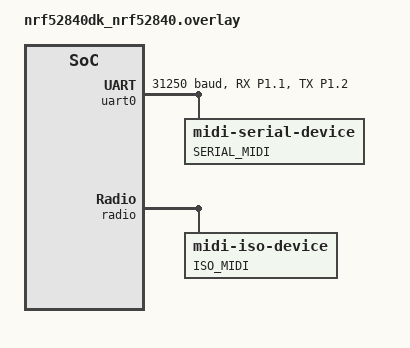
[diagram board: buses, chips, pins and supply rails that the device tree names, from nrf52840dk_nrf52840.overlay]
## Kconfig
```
source "Kconfig.zephyr"

config PRODUCT_ID
    string "Product ID"
    default "0x0001"
    help
      Product ID

config MIDI_TEST_MODE
    bool "MIDI Test Mode"
    default n
    help
      MIDI Test Mode

if MIDI_TEST_MODE

config MIDI_TEST_DROP_FIRST_IRC
    bool "Drop first irc"
    default n

config MIDI_TEST_DROP_FIRST_IRC_RATE
    int "Drop first IRC rate"
    depends on MIDI_TEST_DROP_FIRST_IRC
    default 2 if MIDI_TEST_DROP_FIRST_2ND
    default 16 if MIDI_TEST_DROP_FIRST_16TH
    help
      Drop first IRC rate

config MIDI_TEST_DROP_SECOND_IRC
    bool "Drop second irc"
    default n

config MIDI_TEST_DROP_SECOND_IRC_RATE
    int "Drop second IRC rate"
    depends on MIDI_TEST_DROP_SECOND_IRC
    default 2 if MIDI_TEST_DROP_SECOND_2ND
    default 16 if MIDI_TEST_DROP_SECOND_16TH
    help
      Drop second IRC rate

config MIDI_TEST_DROP_THIRD_IRC
    bool "Drop third irc"
    default n

config MIDI_TEST_DROP_THIRD_IRC_RATE
    int "Drop third IRC rate"
    depends on MIDI_TEST_DROP_THIRD_IRC
    help
      Drop third IRC rate


config MIDI_TEST_DROP_FOURTH_IRC
    bool "Drop third irc"
    default n

config MIDI_TEST_DROP_FOURTH_IRC_RATE
    int "Drop third IRC rate"
    depends on MIDI_TEST_DROP_FOURTH_IRC
    help
      Drop fourth IRC rate

endif # MIDI_TEST_MODE
```

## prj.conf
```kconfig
CONFIG_PRODUCT_ID="1050386693"

# Enable the UART driver
CONFIG_UART_ASYNC_API=y
CONFIG_NRFX_UARTE0=y
CONFIG_SERIAL=y

CONFIG_SPI=y

CONFIG_GPIO=y

# Make sure printk is not printing to the UART console
CONFIG_CONSOLE=n
CONFIG_UART_CONSOLE=n


CONFIG_HEAP_MEM_POOL_SIZE=2048


CONFIG_BT=y
CONFIG_BT_ISO_SYNC_RECEIVER=y
CONFIG_LOG=y
CONFIG_BT_DEVICE_NAME="Test ISO Receive"

CONFIG_BT_ISO_MAX_CHAN=2


CONFIG_BT_CTLR_SYNC_ISO=y
CONFIG_BT_CTLR_SYNC_ISO_PDU_LEN_MAX=251
CONFIG_BT_CTLR_SYNC_ISO_STREAM_MAX=2
CONFIG_BT_CTLR_ISOAL_SINKS=2
CONFIG_BT_LL_SW_SPLIT=y

# This example requires more workqueue stack
CONFIG_SYSTEM_WORKQUEUE_STACK_SIZE=4096

# Config logger
CONFIG_LOG=y
CONFIG_USE_SEGGER_RTT=y
CONFIG_LOG_BACKEND_RTT=y
CONFIG_LOG_BACKEND_UART=n

# Enable DK LED and Buttons library
CONFIG_DK_LIBRARY=y


CONFIG_GPIO=y
CONFIG_GPIO_NRFX=y

CONFIG_MIDI=y
CONFIG_MIDI_SERIAL=y
CONFIG_MIDI_ISO_RECEIVER=y
CONFIG_MIDI_PARSER=y
CONFIG_MIDI_UMP=y
CONFIG_MIDI_CI=y

# CONFIG_SPI_LOG_LEVEL_DBG=y

CONFIG_MIDI_TEST_MODE=y
CONFIG_MIDI_TEST_DROP_FIRST_IRC=y
CONFIG_MIDI_TEST_DROP_SECOND_IRC=y
CONFIG_MIDI_TEST_DROP_FOURTH_IRC=y
CONFIG_MIDI_TEST_DROP_FIRST_IRC_RATE=4
CONFIG_MIDI_TEST_DROP_SECOND_IRC_RATE=8
CONFIG_MIDI_TEST_DROP_FOURTH_IRC_RATE=16
```

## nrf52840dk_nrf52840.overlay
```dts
&pinctrl {
	uart0_default: uart0_default {
		group1 {
			psels = <NRF_PSEL(UART_RX, 1, 1)>;
			bias-pull-up;
		};
		group2 {
			psels = <NRF_PSEL(UART_TX, 1, 2)>;
		};
	};

	uart0_sleep: uart0_sleep {
		group1 {
			psels = <NRF_PSEL(UART_RX, 1, 1)>,
				<NRF_PSEL(UART_TX, 1, 2)>;
			low-power-enable;
		};
	};
};

&uart0 {
	current-speed = <31250>;
    pinctrl-0 = <&uart0_default>;
	pinctrl-1 = <&uart0_sleep>;
    midi_serial_device {
        label = "SERIAL_MIDI";
        compatible = "midi-serial-device";
        midi_serial_in_device{
            compatible = "midi-serial-in-device";
            label = "SERIAL_MIDI_IN";
        };
    
        midi_serial_out_device{
            compatible = "midi-serial-out-device";
            label = "SERIAL_MIDI_OUT";
            handle-timestamps;
        };
    };

};

&radio{
	midi_iso_device {
		compatible = "midi-iso-device";
		label = "ISO_MIDI";
		midi_iso_broadcast_device {
			label = "ISO_MIDI_RECEIVER";
			compatible = "midi-iso-receiver-device";
		};
    };
};
```

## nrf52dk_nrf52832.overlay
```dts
&pinctrl {
	uart0_default: uart0_default {
		group1 {
			psels = <NRF_PSEL(UART_TX, 0, 12)>,
				<NRF_PSEL(UART_RX, 0, 11)>,
				<NRF_PSEL(UART_RTS, 0, 5)>,
				<NRF_PSEL(UART_CTS, 0, 7)>;
		};
	};

	uart0_sleep: uart0_sleep {
		group1 {
			psels = <NRF_PSEL(UART_TX, 0, 12)>,
				<NRF_PSEL(UART_RX, 0, 11)>,
				<NRF_PSEL(UART_RTS, 0, 5)>,
				<NRF_PSEL(UART_CTS, 0, 7)>;
			low-power-enable;
		};
	};
};

&uart0 {
	current-speed = <31250>;
    pinctrl-0 = <&uart0_default>;
	pinctrl-1 = <&uart0_sleep>;
    midi_serial_device {
        label = "SERIAL_MIDI";
        compatible = "midi-serial-device";
        midi_serial_in_device{
            compatible = "midi-serial-in-device";
            label = "SERIAL_MIDI_IN";
        };
    
        midi_serial_out_device{
            compatible = "midi-serial-out-device";
            label = "SERIAL_MIDI_OUT";
            handle-timestamps;
        };
    };

};

&radio{
	midi_iso_device {
		compatible = "midi-iso-device";
		label = "ISO_MIDI";
		midi_iso_broadcast_device {
			label = "ISO_MIDI_RECEIVER";
			compatible = "midi-iso-receiver-device";
		};
    };
};
```

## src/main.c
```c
#include <zephyr/types.h>
#include <zephyr/device.h>
#include <soc.h>

#include <dk_buttons_and_leds.h>
#include <midi/midi.h>
#include <midi/midi_iso.h>
#include <midi/midi_parser.h>
#include <midi/midi_sysex.h>
#include <midi/midi_ump.h>
#include <midi/midi_ci.h>
#include <zephyr/drivers/spi.h>
#include <hal/nrf_gpio.h>
#include "test_gpio.h"

#include <zephyr/logging/log.h>

#define LOG_MODULE_NAME midi
LOG_MODULE_REGISTER(LOG_MODULE_NAME);

#define RUN_STATUS_LED DK_LED1
#define CON_STATUS_LED DK_LED2
#define RUN_LED_BLINK_INTERVAL 1000

const struct device *serial_midi_in_dev;
const struct device *serial_midi_out_dev;
const struct device *iso_midi_in_dev;
const struct device *spi_dev;

static K_FIFO_DEFINE(fifo_event_execution);

#define UMP_NAME "nrf midi receiver"
#define FUNCTION_BLOCK_NAME "receiver function block"

#define SPI_NODE	DT_NODELABEL(spi0)

DEFINE_MIDI_PARSER_SERIAL(serial_parser);

DEFINE_MIDI_UMP_ENDPOINT(ump_endpoint, UMP_NAME, CONFIG_PRODUCT_ID, 0x07,
	0x08, 0x09, 0x00, 0x01, 0x01, MIDI_PROTOCOL_1_0, 0x01, 
	(MIDI_UMP_CI_CATEGORY_SUPPORTED_PROFILE_CONFIGURATION | 
 	MIDI_UMP_CI_CATEGORY_SUPPORTED_PROPERTY_EXCHANGE), false, false, 0xFF); 

DEFINE_MIDI_UMP_FUNCTION_BLOCK(function_block, FUNCTION_BLOCK_NAME,
			MIDI_UMP_FUNCTION_BLOCK_BIDIRECTIONAL, 
			MIDI_UMP_FUNCTION_BLOCK_MIDI_1_0_31250_BPS, 
			MIDI_UMP_FUNCTION_BLOCK_RECEIVER_SENDER, 
			0x00, 0x01, 0x02, 
			0x01);

static int spi_send(const struct device *dev, void *data, size_t len)
{
	int err;

	struct spi_cs_control cs  = (struct spi_cs_control){
		.gpio = GPIO_DT_SPEC_GET(SPI_NODE, cs_gpios),
		.delay = 0u,
	};

	struct spi_config config = (struct spi_config){
		.frequency = 125000,
		.operation = SPI_OP_MODE_MASTER | SPI_WORD_SET(8),
		.slave = 0,
		.cs = cs,
	};
	

	struct spi_buf tx_buf = {
		.buf = data,
		.len = len,
	};

	struct spi_buf_set tx_bufs = {
		.buffers = &tx_buf,
		.count = 1,
	};

	err = spi_write(dev, &config, &tx_bufs);
	if (err)
	{
		("spi_write; err: %d", err);
	}
	
	return err;
}

static int handle_midi_ci(midi_msg_t *msg)
{
	int err;
	midi_ump_function_block_t *remote_function_block;	
	midi_ci_msg_header_t * header = midi_ci_parse_msg_header(msg);

	switch (header->universal_sysex_header.sub_id_2)
	{
	case MIDI_CI_MANAGEMENT_DISCOVERY:
		midi_msg_t * reply_msg;

		if(midi_ump_get_remote_function_block_by_muid(&function_block, 
					MIDI_DATA_ARRAY_4_BYTE_TO_INTEGER(header->source_muid))) {
			LOG_DBG("Remote function block already exists");
			break;
		}

		remote_function_block = midi_ci_parse_function_block_from_msg(msg);
		err = midi_ump_add_remote_function_block(&function_block, remote_function_block);
		LOG_INF("Remote function block added");
		
		reply_msg = midi_ci_discovery_reply_msg_create_alloc(&function_block, remote_function_block);
		// LOG_HEXDUMP_INF(reply_msg->data, reply_msg->len, "Reply message:");
		spi_send(spi_dev, reply_msg->data, reply_msg->len);
		midi_msg_unref(reply_msg);
		break;
	case MIDI_CI_MANAGEMENT_DISCOVERY_REPLY:

		break;
	
	default:
		break;
	}
	return err;
}

static int handle_sysex(midi_msg_t *msg)
{
	midi_sysex_universal_msg_header_t *sysex_header;
	sysex_header = midi_sysex_universal_msg_header_parse(msg);
	switch (sysex_header->sub_id_1)
	{
	case MIDI_SYSEX_SUB_ID_1_MIDI_CI:
		handle_midi_ci(msg);
		break;
	
	default:
		break;
	}
	return 0;
}

midi_msg_t * midi_ump_to_1_0(midi_msg_t *ump_msg)
{
	midi_status_t *status;
	midi_msg_t *msg;

	if (ump_msg->format != MIDI_FORMAT_2_0_UMP)
	{
		return NULL;
	}

	status = (midi_status_t*)&ump_msg->data[1];
	
	switch (status->opcode)
	{
	case MIDI_OP_NOTE_OFF:
	case MIDI_OP_NOTE_ON:
	case MIDI_OP_POLYPHONIC_AFTERTOUCH:
	case MIDI_OP_CONTROL_CHANGE:
	case MIDI_OP_PITCH_BEND:
		msg = midi_msg_init_alloc(NULL, 3, MIDI_FORMAT_1_0_PARSED_DELTA_US, NULL);
		memcpy(msg->data, ump_msg->data + 1, 3);
		break;
	case MIDI_OP_PROGRAM_CHANGE:
	case MIDI_OP_CHANNEL_PRESSURE:
		msg = midi_msg_init_alloc(NULL, 2, MIDI_FORMAT_1_0_PARSED_DELTA_US, NULL);
		memcpy(msg->data, ump_msg->data + 1, 2);
		break;
	default:
		msg = NULL;
		break;
	}
	msg->timestamp = ump_msg->timestamp;
	return msg;
}

static int midi_iso_received(const struct device *dev,
			  midi_msg_t *msg,
			  void *user_data)
{
	int err;
	uint8_t spi_ack_msg[4];
	midi_msg_t *midi_1_0_msg;

	LOG_DBG("MIDI iso received!");
	if (msg) {
		
		LOG_HEXDUMP_DBG(msg->data, msg->len, "Received message:");
	
		if (msg->format == MIDI_FORMAT_1_0_PARSED_DELTA_US)
		{
			switch (msg->data[0])
			{
			case MIDI_SYSEX_START:
				handle_sysex(msg);
				break;
			
			default:
				break;
			}
		} 

		if (msg->format == MIDI_FORMAT_2_0_UMP)
		{
			if (msg->timestamp != 0)
			{
				// midi_msg_ref(msg);
				// k_fifo_put(&fifo_event_execution, msg);
				midi_1_0_msg = midi_ump_to_1_0(msg);
				midi_send(serial_midi_out_dev, midi_1_0_msg);

				
			}
			
			if(msg->ack_channel != 0xFF)
			{
				spi_ack_msg[0] = 0xFF;
				spi_ack_msg[1] = function_block.muid & 0xFF;
				spi_ack_msg[2] = msg->num;
				spi_ack_msg[3] = msg->ack_channel;
				LOG_DBG("Sending ack message. muid %x, num: %x, channel: %x", spi_ack_msg[1], spi_ack_msg[2], spi_ack_msg[3]);
				spi_send(spi_dev, spi_ack_msg, 4);
			}
		}
	}

	midi_msg_unref_alt(msg);

	return 0;
}

static int midi_serial_sent(const struct device *dev,
			  midi_msg_t *msg,
			  void *user_data)
{
	LOG_DBG("MIDI SERIAL sent!");
	midi_msg_unref(msg);

	return 0;
}

static int midi_serial_received(const struct device *dev,
			  midi_msg_t *msg,
			  void *user_data)
{
	midi_msg_unref(msg);

	return 0;
}

const struct device * get_port(const char* name, 
			midi_transfer cb, void *user_data)
{
	int err;
	const struct device * dev;

	dev = device_get_binding(name);
	if (!dev) {
		LOG_ERR("Can not get device: %s", name);
	}

	err = midi_callback_set(dev, cb, user_data);
	if (err != 0) {
		LOG_ERR("Can not set callbacks for device: %s", name);
	}

	return dev;
}

void main(void)
{
	int blink_status = 0;
	int err;

	spi_dev = DEVICE_DT_GET(SPI_NODE);
	if (!device_is_ready(spi_dev)) {
		LOG_INF("device not ready.");
	}

	midi_ump_add_function_block(&ump_endpoint, &function_block);
	midi_iso_set_function_block(&function_block);

	/*SERIAL PORTS*/
	serial_midi_in_dev = get_port("SERIAL_MIDI_IN", 
			midi_serial_received, NULL);
	
	serial_midi_out_dev = get_port("SERIAL_MIDI_OUT", 
			midi_serial_sent, NULL);

	/*ISO PORTS*/
	iso_midi_in_dev = get_port("ISO_MIDI_RECEIVER", 
			midi_iso_received, NULL);

	LOG_INF("ports gotten");

	err = dk_leds_init();
	if (err) {
		LOG_ERR("Cannot init LEDs (err: %d)", err);
	}
	
	test_gpio_init(13);
	test_gpio_init(6);

	midi_iso_scan(iso_midi_in_dev);

	for (;;) {
		dk_set_led(RUN_STATUS_LED, (++blink_status) % 2);
		k_sleep(K_MSEC(RUN_LED_BLINK_INTERVAL));
	}
}


static void event_execution_thread_fn(void *p1, void *p2, void *p3);

K_THREAD_DEFINE(event_execution_thread, 512, event_execution_thread_fn, 
	NULL, NULL, NULL, K_PRIO_COOP(1), 0, 0);

static void event_execution_thread_fn(void *p1, void *p2, void *p3)
{
	midi_msg_t *msg;
	while (1)
	{
		msg = k_fifo_get(&fifo_event_execution, K_FOREVER);
		if (msg)
		{
			k_sleep(K_USEC(msg->timestamp));
			test_gpio_toggle(13);
			midi_msg_unref_alt(msg);
		}
	}
}
```
